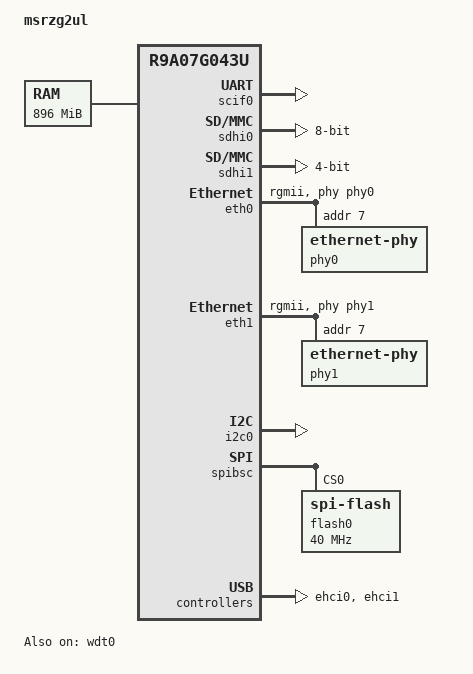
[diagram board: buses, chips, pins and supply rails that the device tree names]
// SPDX-License-Identifier: GPL-2.0
/*
 * Device Tree Source for the SMRZ2GUL OSM
 *
 * Copyright (C) 2023 ARIES Embedded
 * Copyright (C) 2017 Jacopo Mondi <jacopo+renesas@jmondi.org>
 * Copyright (C) 2016 Renesas Electronics
 */

/dts-v1/;
#include <dt-bindings/gpio/gpio.h>
#include "r9a07g043u11.dtsi"
#include "r9a07g043u11-u-boot.dtsi"
#include <dt-bindings/pinctrl/rzg2l-pinctrl.h>

/ {
	model = "msrzg2ul";
	compatible = "renesas,r9a07g043u", "renesas,rzg2ul";

	aliases {
		serial0 = &scif0;
		spi0 = &spibsc;
	};

	chosen {
		stdout-path = "serial0:115200n8";
	};

	memory@48000000 {
		device_type = "memory";
		/* first 128MB is reserved for secure area. */
		reg = <0 0x48000000 0 0x38000000>;
	};

};

&pinctrl {
	eth0_pins: eth0 {
		pinmux = <RZG2L_PINMUX(1, 0, 1)>,
			<RZG2L_PINMUX(1, 1, 1)>,
			<RZG2L_PINMUX(1, 2, 1)>,
			<RZG2L_PINMUX(1, 3, 1)>,
			<RZG2L_PINMUX(1, 4, 1)>,
			<RZG2L_PINMUX(2, 0, 1)>,
			<RZG2L_PINMUX(2, 1, 1)>,
			<RZG2L_PINMUX(2, 2, 1)>,
			<RZG2L_PINMUX(2, 3, 1)>,
			<RZG2L_PINMUX(3, 0, 1)>,
			<RZG2L_PINMUX(3, 1, 1)>,
			<RZG2L_PINMUX(3, 2, 1)>,
			<RZG2L_PINMUX(3, 3, 1)>,
			<RZG2L_PINMUX(4, 0, 1)>,
			<RZG2L_PINMUX(4, 1, 1)>,
			<RZG2L_PINMUX(4, 2, 1)>,
			<RZG2L_PINMUX(4, 3, 1)>,
			<RZG2L_PINMUX(4, 4, 1)>,
			<RZG2L_PINMUX(4, 5, 1)>;
	};
	eth1_pins: eth1 {
		pinmux = <RZG2L_PINMUX(7, 0, 1)>,
			<RZG2L_PINMUX(7, 1, 1)>,
			<RZG2L_PINMUX(7, 2, 1)>,
			<RZG2L_PINMUX(7, 3, 1)>,
			<RZG2L_PINMUX(7, 4, 1)>,
			<RZG2L_PINMUX(8, 0, 1)>,
			<RZG2L_PINMUX(8, 1, 1)>,
			<RZG2L_PINMUX(8, 2, 1)>,
			<RZG2L_PINMUX(8, 3, 1)>,
			<RZG2L_PINMUX(8, 4, 1)>,
			<RZG2L_PINMUX(9, 0, 1)>,
			<RZG2L_PINMUX(9, 1, 1)>,
			<RZG2L_PINMUX(9, 2, 1)>,
			<RZG2L_PINMUX(9, 3, 1)>,
			<RZG2L_PINMUX(10, 0, 1)>,
			<RZG2L_PINMUX(10, 1, 1)>,
			<RZG2L_PINMUX(10, 2, 1)>,
			<RZG2L_PINMUX(10, 3, 1)>,
			<RZG2L_PINMUX(10, 4, 1)>;
	};
	mmc_pins: mmc0 {
		pinmux = <RZG2L_PINMUX(11, 2, 0)>;
	};
};

&xinclk {
        clock-frequency = <24000000>;
};

&scif0 {
	status = "okay";
	clock = <100000000>;
};

&sdhi0 {
	bus-width = <8>;
	status = "okay";
	/* This is used for interface that support both eMMC and SD in board */
	mutual-channel;
};

&sdhi1 {
	pinctrl-names = "default";
	pinctrl-0 = <&mmc_pins>;
	bus-width = <4>;
	status = "okay";
	pwr-gpios = <&P11 2 GPIO_ACTIVE_HIGH>;
};

&eth0 {
	pinctrl-names = "default";
	pinctrl-0 = <&eth0_pins>;
	phy-handle = <&phy0>;
	phy-mode = "rgmii";
	status = "okay";

	phy0: ethernet-phy@7 {
	      reg = <7>;
	};
};

&eth1 {
	pinctrl-names = "default";
	pinctrl-0 = <&eth1_pins>;
	phy-handle = <&phy1>;
	phy-mode = "rgmii";
	status = "okay";

	phy1: ethernet-phy@7 {
		reg = <7>;
	};
};

&i2c0 {
	status = "okay";
};

&spibsc {
        num-cs = <1>;
        status = "okay";
        spi-max-frequency = <40000000>;
        #address-cells = <1>;
        #size-cells = <0>;
        flash0: spi-flash@0 {
                #address-cells = <1>;
                #size-cells = <1>;
                compatible = "spi-flash", "jedec,spi-nor";
                spi-max-frequency = <40000000>;
                spi-tx-bus-width = <1>;
                spi-rx-bus-width = <1>;
                reg = <0>;
                status = "okay";
        };
};

&ehci0 {
	status = "okay";
};

&ehci1 {
	status = "okay";
};

&wdt0 {
	status = "okay";
	timeout-sec = <60>;
};
